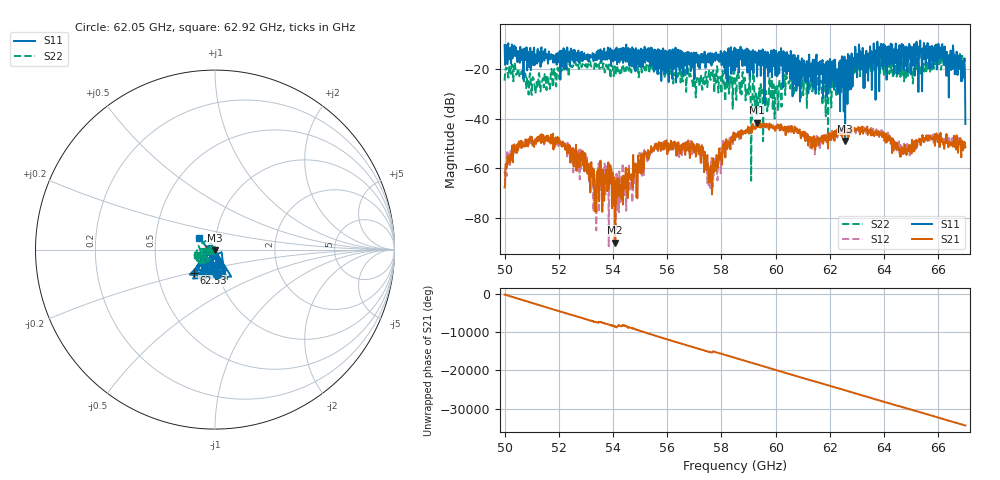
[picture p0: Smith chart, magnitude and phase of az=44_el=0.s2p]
!Created with skrf (http://scikit-rf.org).
# GHz S RI R 50.0
!freq ReS11 ImS11 ReS21 ImS21 ReS12 ImS12 ReS22 ImS22
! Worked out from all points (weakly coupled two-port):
!   1001 points, 50 GHz to 67 GHz, reference 50 ohm
!   highest |S21| = -41.63 dB at 59.32 GHz (marker M1); lowest = -89.8 dB at 54.08 GHz (marker M2)
!   lowest |S11| = -49.0 dB at 62.56 GHz (marker M3), VSWR 1.01, Z = 49.9 - j0.323 ohm
!   |S11| at or under -10 dB: 50.14 GHz to 63.62 GHz (13.48 GHz wide, 23.7 % of centre); 64.43 GHz to 65.19 GHz (761.1 MHz wide, 1.17 % of centre); 66 GHz to end of sweep (the widest 3 of 11)
!   |S22| runs from -65.0 to -14.0 dB; largest |S21 - S12| = 0.0024
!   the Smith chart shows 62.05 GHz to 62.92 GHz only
!   S11 on the Smith chart (normalised r, x): 62.05 GHz: 0.98, -0.28; 62.53 GHz: 0.76, -0.20; 62.92 GHz: 0.83, +0.11
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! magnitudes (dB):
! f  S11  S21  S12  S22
! 50 GHz  -10.5  -67.6  -61.1  -24.8
! 50.2 GHz  -12.6  -57.7  -58.6  -19.8
! 50.92 GHz  -19.4  -48.5  -50.2  -23.2
! 52.84 GHz  -14.6  -56.5  -55.2  -19.4
! 53.4 GHz  -13.2  -62.4  -65.0  -19.2
! 53.84 GHz  -15.2  -68.1  -91.2  -18.7
! 54.08 GHz  -12.3  -89.8  -69.9  -19.8
! 55.68 GHz  -14.0  -51.0  -49.3  -22.1
! 57.17 GHz  -15.3  -52.6  -50.5  -25.1
! 57.6 GHz  -13.7  -65.5  -63.1  -24.5
! 58.5 GHz  -20.7  -48.7  -48.3  -24.7
! 59.32 GHz  -23.2  -41.6  -42.1  -31.6
! 61.34 GHz  -25.2  -49.5  -51.0  -26.3
! 62.05 GHz  -17.2  -48.7  -47.9  -35.6
! 62.53 GHz  -15.1  -44.6  -44.9  -19.1
! 62.56 GHz  -49.0  -46.9  -45.8  -20.0
! 62.92 GHz  -19.2  -45.1  -45.2  -19.5
! 64.18 GHz  -18.4  -48.1  -47.1  -18.4
! 64.67 GHz  -13.5  -51.5  -51.6  -22.4
! 66.08 GHz  -15.6  -45.7  -48.0  -15.7
! 66.9 GHz  -16.9  -50.2  -51.8  -15.1
! 67 GHz  -42.2  -51.5  -51.3  -15.7
